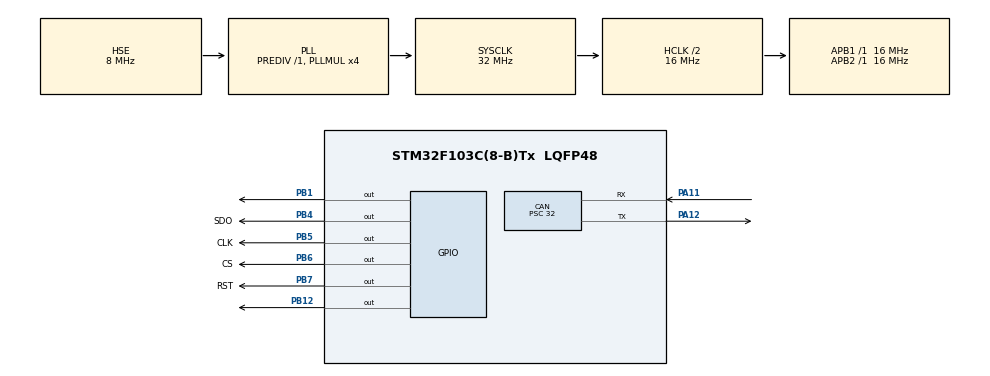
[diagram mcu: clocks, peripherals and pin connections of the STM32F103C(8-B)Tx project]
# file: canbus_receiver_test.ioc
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CAN.BS1=CAN_BS1_2TQ
CAN.BS2=CAN_BS2_2TQ
CAN.CalculateBaudRate=100000
CAN.CalculateTimeBit=10000.00
CAN.CalculateTimeQuantum=2000.0
CAN.NART=ENABLE
CAN.Prescaler=32
Mcu.Family=STM32F1
Mcu.Name=STM32F103C(8-B)Tx
Mcu.Package=LQFP48
NVIC.PriorityGroup=NVIC_PRIORITYGROUP_4
NVIC.TIM2_IRQn=true\:0\:0\:false\:false\:true\:true\:true
PA11.Mode=CAN_Activate
PA11.Signal=CAN_RX
PA12.Mode=CAN_Activate
PA12.Signal=CAN_TX
PA13.Mode=Serial_Wire
PA13.Signal=SYS_JTMS-SWDIO
PA14.Mode=Serial_Wire
PA14.Signal=SYS_JTCK-SWCLK
PB1.Signal=GPIO_Output
PB12.Signal=GPIO_Output
PB4.GPIO_Label=SDO
PB4.Signal=GPIO_Output
PB5.GPIO_Label=CLK
PB5.Signal=GPIO_Output
PB6.GPIO_Label=CS
PB6.Signal=GPIO_Output
PB7.GPIO_Label=RST
PB7.Signal=GPIO_Output
PD0-OSC_IN.Mode=HSE-External-Oscillator
PD0-OSC_IN.Signal=RCC_OSC_IN
PD1-OSC_OUT.Mode=HSE-External-Oscillator
PD1-OSC_OUT.Signal=RCC_OSC_OUT
ProjectManager.HeapSize=0x200
ProjectManager.StackSize=0x400
ProjectManager.TargetToolchain=STM32CubeIDE
RCC.AHBCLKDivider=RCC_SYSCLK_DIV2
RCC.AHBFreq_Value=16000000
RCC.APB1Freq_Value=16000000
RCC.APB1TimFreq_Value=16000000
RCC.APB2Freq_Value=16000000
RCC.APB2TimFreq_Value=16000000
RCC.HCLKFreq_Value=16000000
RCC.PLLMUL=RCC_PLL_MUL4
RCC.PLLSourceVirtual=RCC_PLLSOURCE_HSE
RCC.SYSCLKFreq_VALUE=32000000
RCC.SYSCLKSource=RCC_SYSCLKSOURCE_PLLCLK
RCC.USBFreq_Value=32000000
TIM2.Period=500
TIM2.Prescaler=16000
VP_TIM2_VS_ClockSourceINT.Mode=Internal
board=custom

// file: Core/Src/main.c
/* USER CODE BEGIN Header */
/**
  ******************************************************************************
  * @file           : main.c
  * @brief          : Main program body
  ******************************************************************************
  * @attention
  *
  * <h2><center>&copy; Copyright (c) 2021 STMicroelectronics.
  * All rights reserved.</center></h2>
  *
  * This software component is licensed by ST under BSD 3-Clause license,
  * the "License"; You may not use this file except in compliance with the
  * License. You may obtain a copy of the License at:
  *                        opensource.org/licenses/BSD-3-Clause
  *
  ******************************************************************************
  */
/* USER CODE END Header */
#include "main.h"

/* USER CODE BEGIN Includes */

#include "Futaba_VFD.h"
#include <stdio.h>
#include <string.h>

/* USER CODE END Includes */

CAN_HandleTypeDef hcan;

TIM_HandleTypeDef htim2;

/* USER CODE BEGIN PV */

CAN_TxHeaderTypeDef TxHeader; //declare a specific header structfor message transmittions
CAN_RxHeaderTypeDef RxHeader; //declare header for message reception
CAN_FilterTypeDef FilterConfig; //declare CAN filter structure

uint32_t TxMailbox;				//Mailbox buffer level?
uint8_t txbuf[8];					//CAN transmit buffer
uint8_t rxbuf[8];					//CAN receive buffer
uint32_t rx_fifo_level;

uint8_t test_val;
uint8_t button_pressed;

char buffer[8];
char message[] = "TEST";
char display_test[8] = {0x7F, 0x7F, 0x7F, 0x7F, 0x7F, 0x7F, 0x7F, 0x7F};

union{
	unsigned char data[2];
	unsigned int number;
}conv;

/* USER CODE END PV */

void SystemClock_Config(void);
static void MX_GPIO_Init(void);
static void MX_CAN_Init(void);
static void MX_TIM2_Init(void);

int main(void)
{

  /* MCU Configuration--------------------------------------------------------*/

  /* Reset of all peripherals, Initializes the Flash interface and the Systick. */
  HAL_Init();

  /* Configure the system clock */
  SystemClock_Config();

  /* Initialize all configured peripherals */
  MX_GPIO_Init();
  MX_CAN_Init();
  MX_TIM2_Init();
  /* USER CODE BEGIN 2 */

  HAL_TIM_Base_Start_IT(&htim2);

  RST(1);

  HAL_Delay(10);
  initVFD();
  VFDWriteString(0, display_test);
  HAL_Delay(2000);
  clear();
  VFDWriteString(0, message);
  HAL_Delay(2000);
  clear();

  TxHeader.DLC=1; //give message size of 1 byte
  TxHeader.IDE=CAN_ID_STD; //set identifier to standard
  TxHeader.RTR=CAN_RTR_DATA; //set data type to remote transmission request?
  TxHeader.StdId=0x244; //define a standard identifier, used for message identification by filters (switch this for the other microcontroller)

  //filter one (stack light blink)
  FilterConfig.FilterFIFOAssignment=CAN_FILTER_FIFO0; //set fifo assignment
  //sFilterConfig.FilterIdHigh=0; //0x245<<5; //the ID that the filter looks for (switch this for the other microcontroller)
  //sFilterConfig.FilterIdLow=0;
  FilterConfig.FilterMaskIdHigh=0x0000;
  FilterConfig.FilterMaskIdLow=0x0000;
  FilterConfig.FilterScale=CAN_FILTERSCALE_32BIT; //set filter scale
  //FilterConfig.FilterActivation=CAN_FILTER_ENABLE;
  FilterConfig.FilterActivation = ENABLE;
  /*
   * Filter MUST be on in order to receive messages.  If disabled
   * no message can be received.
   * To receive all messages, set filters to 0;
   */

  FilterConfig.FilterBank = 0;
  FilterConfig.FilterMode = CAN_FILTERMODE_IDMASK;

  HAL_CAN_ConfigFilter(&hcan, &FilterConfig); //configure CAN filter

  HAL_CAN_Start(&hcan); //start CAN

  /* USER CODE END 2 */

  /* Infinite loop */
  /* USER CODE BEGIN WHILE */
  while (1)
  {
	  if(HAL_CAN_GetRxFifoFillLevel(&hcan, CAN_RX_FIFO0) != 0){				//poll to see if FIFO has something
		  HAL_CAN_GetRxMessage(&hcan, CAN_RX_FIFO0, &RxHeader, rxbuf);		//copy message from FIFO into local variables
	  }

	  if(RxHeader.StdId == 0x100){
		  test_val = rxbuf[0] & 0x01;
		  HAL_GPIO_WritePin(GPIOB, GPIO_PIN_1, test_val);
	  }

	  if(RxHeader.StdId == 0x101){
		  memcpy(conv.data, rxbuf, sizeof(conv.data));
		  sprintf(buffer, "%d   ", conv.number);
		  //sprintf(buffer, "%d   ", rxbuf[0]);
		  VFDWriteString(0, buffer);
	  }

    /* USER CODE END WHILE */

  }
}

void SystemClock_Config(void)
{
  RCC_OscInitTypeDef RCC_OscInitStruct = {0};
  RCC_ClkInitTypeDef RCC_ClkInitStruct = {0};

  /** Initializes the RCC Oscillators according to the specified parameters
  * in the RCC_OscInitTypeDef structure.
  */
  RCC_OscInitStruct.OscillatorType = RCC_OSCILLATORTYPE_HSE;
  RCC_OscInitStruct.HSEState = RCC_HSE_ON;
  RCC_OscInitStruct.HSEPredivValue = RCC_HSE_PREDIV_DIV1;
  RCC_OscInitStruct.HSIState = RCC_HSI_ON;
  RCC_OscInitStruct.PLL.PLLState = RCC_PLL_ON;
  RCC_OscInitStruct.PLL.PLLSource = RCC_PLLSOURCE_HSE;
  RCC_OscInitStruct.PLL.PLLMUL = RCC_PLL_MUL4;
  if (HAL_RCC_OscConfig(&RCC_OscInitStruct) != HAL_OK)
  {
    Error_Handler();
  }
  /** Initializes the CPU, AHB and APB buses clocks
  */
  RCC_ClkInitStruct.ClockType = RCC_CLOCKTYPE_HCLK|RCC_CLOCKTYPE_SYSCLK
                              |RCC_CLOCKTYPE_PCLK1|RCC_CLOCKTYPE_PCLK2;
  RCC_ClkInitStruct.SYSCLKSource = RCC_SYSCLKSOURCE_PLLCLK;
  RCC_ClkInitStruct.AHBCLKDivider = RCC_SYSCLK_DIV2;
  RCC_ClkInitStruct.APB1CLKDivider = RCC_HCLK_DIV1;
  RCC_ClkInitStruct.APB2CLKDivider = RCC_HCLK_DIV1;

  if (HAL_RCC_ClockConfig(&RCC_ClkInitStruct, FLASH_LATENCY_1) != HAL_OK)
  {
    Error_Handler();
  }
}

static void MX_CAN_Init(void)
{

  hcan.Instance = CAN1;
  hcan.Init.Prescaler = 32;
  hcan.Init.Mode = CAN_MODE_NORMAL;
  hcan.Init.SyncJumpWidth = CAN_SJW_1TQ;
  hcan.Init.TimeSeg1 = CAN_BS1_2TQ;
  hcan.Init.TimeSeg2 = CAN_BS2_2TQ;
  hcan.Init.TimeTriggeredMode = DISABLE;
  hcan.Init.AutoBusOff = DISABLE;
  hcan.Init.AutoWakeUp = DISABLE;
  hcan.Init.AutoRetransmission = ENABLE;
  hcan.Init.ReceiveFifoLocked = DISABLE;
  hcan.Init.TransmitFifoPriority = DISABLE;
  if (HAL_CAN_Init(&hcan) != HAL_OK)
  {
    Error_Handler();
  }

}

static void MX_TIM2_Init(void)
{

  TIM_ClockConfigTypeDef sClockSourceConfig = {0};
  TIM_MasterConfigTypeDef sMasterConfig = {0};

  htim2.Instance = TIM2;
  htim2.Init.Prescaler = 16000;
  htim2.Init.CounterMode = TIM_COUNTERMODE_UP;
  htim2.Init.Period = 500;
  htim2.Init.ClockDivision = TIM_CLOCKDIVISION_DIV1;
  htim2.Init.AutoReloadPreload = TIM_AUTORELOAD_PRELOAD_DISABLE;
  if (HAL_TIM_Base_Init(&htim2) != HAL_OK)
  {
    Error_Handler();
  }
  sClockSourceConfig.ClockSource = TIM_CLOCKSOURCE_INTERNAL;
  if (HAL_TIM_ConfigClockSource(&htim2, &sClockSourceConfig) != HAL_OK)
  {
    Error_Handler();
  }
  sMasterConfig.MasterOutputTrigger = TIM_TRGO_RESET;
  sMasterConfig.MasterSlaveMode = TIM_MASTERSLAVEMODE_DISABLE;
  if (HAL_TIMEx_MasterConfigSynchronization(&htim2, &sMasterConfig) != HAL_OK)
  {
    Error_Handler();
  }

}

static void MX_GPIO_Init(void)
{
  GPIO_InitTypeDef GPIO_InitStruct = {0};

  /* GPIO Ports Clock Enable */
  __HAL_RCC_GPIOD_CLK_ENABLE();
  __HAL_RCC_GPIOB_CLK_ENABLE();
  __HAL_RCC_GPIOA_CLK_ENABLE();

  /*Configure GPIO pin Output Level */
  HAL_GPIO_WritePin(GPIOB, GPIO_PIN_1|GPIO_PIN_12|SDO_Pin|CLK_Pin
                          |CS_Pin|RST_Pin, GPIO_PIN_RESET);

  /*Configure GPIO pins : PB1 PB12 SDO_Pin CLK_Pin
                           CS_Pin RST_Pin */
  GPIO_InitStruct.Pin = GPIO_PIN_1|GPIO_PIN_12|SDO_Pin|CLK_Pin
                          |CS_Pin|RST_Pin;
  GPIO_InitStruct.Mode = GPIO_MODE_OUTPUT_PP;
  GPIO_InitStruct.Pull = GPIO_NOPULL;
  GPIO_InitStruct.Speed = GPIO_SPEED_FREQ_LOW;
  HAL_GPIO_Init(GPIOB, &GPIO_InitStruct);

}

void Error_Handler(void)
{
  __disable_irq();
  while (1)
  {
  }
}

/************************ (C) COPYRIGHT STMicroelectronics *****END OF FILE****/
